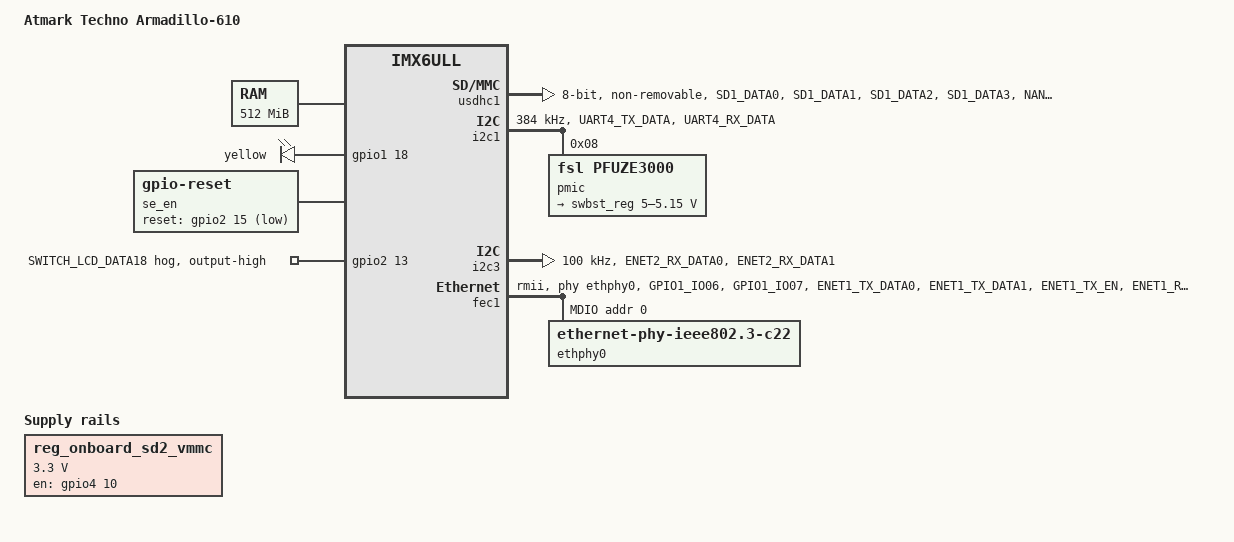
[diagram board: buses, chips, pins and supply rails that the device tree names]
// SPDX-License-Identifier: (GPL-2.0 OR MIT)
/*
 * Copyright (C) 2020 Atmark Techno, Inc. All Rights Reserved.
 */

/dts-v1/;

#include "imx6ull.dtsi"

/ {
	model = "Atmark Techno Armadillo-610";
	compatible = "atmark,a610", "fsl,imx6ull";

	memory@80000000 {
		device_type = "memory";
		reg = <0x80000000 0x20000000>;
	};

	gpio-leds {
		compatible = "gpio-leds";
		pinctrl-names = "default";
		pinctrl-0 = <
			&pinctrl_gpio_leds
			&pinctrl_ext_gpio_leds /* for dtbo */
		>;

		yellow {
			label = "yellow";
			gpios = <&gpio1 18 GPIO_ACTIVE_HIGH>;
			linux,default-trigger = "none";
		};
	};

	reg_onboard_sd2_vmmc: regulator-onboardsd2vmmc {
		pinctrl-names = "default";
		pinctrl-0 = <&pinctrl_onboard_sd2_vmmc>;
		compatible = "regulator-fixed";
		regulator-name = "VDD_ONBOARD_SD2";
		regulator-min-microvolt = <3300000>;
		regulator-max-microvolt = <3300000>;
		gpio = <&gpio4 10 GPIO_ACTIVE_HIGH>;
		enable-active-high;
	};

	se_en: se-enable {
		compatible = "gpio-reset";
		pinctrl-names = "default";
		pinctrl-0 = <&pinctrl_se_reset_n>;
		reset-gpios = <&gpio2 15 GPIO_ACTIVE_LOW>;
		reset-assert-in-suspend;
	};
};

#include "armadillo-600-onboard-usdhc2.dtsi"

&usdhc1 {
	assigned-clocks = <&clks IMX6UL_CLK_USDHC1_SEL>, <&clks IMX6UL_CLK_USDHC1>;
	assigned-clock-parents = <&clks IMX6UL_CLK_PLL2_PFD2>;
	assigned-clock-rates = <0>, <198000000>;

	pinctrl-names = "default";
	pinctrl-0 = <&pinctrl_usdhc1>;
	bus-width = <8>;
	no-1-8-v;
	non-removable;
	keep-power-in-suspend;
	wakeup-source;
	status = "okay";
};

&iomuxc {
	pinctrl_ext_gpio_leds: extgpioledsgrp {
		/* this group left empty for expansion GPIO LEDs */
	};

	pinctrl_enet1: enet1grp {
		fsl,pins = <
			MX6UL_PAD_GPIO1_IO06__ENET1_MDIO	0x0b808
			MX6UL_PAD_GPIO1_IO07__ENET1_MDC		0x0b008
			MX6UL_PAD_ENET1_TX_DATA0__ENET1_TDATA00	0x0b010
			MX6UL_PAD_ENET1_TX_DATA1__ENET1_TDATA01	0x0b010
			MX6UL_PAD_ENET1_TX_EN__ENET1_TX_EN	0x1b0b0
			MX6UL_PAD_ENET1_RX_DATA0__ENET1_RDATA00	0x1b0b0
			MX6UL_PAD_ENET1_RX_DATA1__ENET1_RDATA01	0x1b0b0
			MX6UL_PAD_ENET1_RX_ER__ENET1_RX_ER	0x1b0b0
			MX6UL_PAD_ENET1_RX_EN__ENET1_RX_EN	0x1b0b0
			MX6UL_PAD_ENET1_TX_CLK__ENET1_REF_CLK1	0x4001b018
		>;
	};

	pinctrl_i2c1: i2c1grp {
		fsl,pins = <
			MX6UL_PAD_UART4_TX_DATA__I2C1_SCL	0x4001b8b0
			MX6UL_PAD_UART4_RX_DATA__I2C1_SDA	0x4001b8b0
		>;
	};

	pinctrl_i2c3: i2c3grp {
		fsl,pins = <
			MX6UL_PAD_ENET2_RX_DATA0__I2C3_SCL	0x4001b8b0
			MX6UL_PAD_ENET2_RX_DATA1__I2C3_SDA	0x4001b8b0
		>;
	};

	pinctrl_switch_lcd_data18: switchlcddata18grp {
		fsl,pins = <
			MX6UL_PAD_ENET2_TX_EN__GPIO2_IO13	0x400010b0
		>;
	};

	pinctrl_se_reset_n: seresetngrp {
		fsl,pins = <
			MX6UL_PAD_ENET2_RX_ER__GPIO2_IO15	0x400010b0
		>;
	};

	pinctrl_usdhc1: usdhc1grp {
		fsl,pins = <
			MX6UL_PAD_SD1_DATA0__USDHC1_DATA0	0x17059
			MX6UL_PAD_SD1_DATA1__USDHC1_DATA1	0x17059
			MX6UL_PAD_SD1_DATA2__USDHC1_DATA2	0x17059
			MX6UL_PAD_SD1_DATA3__USDHC1_DATA3	0x17059
			MX6UL_PAD_NAND_READY_B__USDHC1_DATA4	0x17059
			MX6UL_PAD_NAND_CE0_B__USDHC1_DATA5	0x17059
			MX6UL_PAD_NAND_CE1_B__USDHC1_DATA6	0x17059
			MX6UL_PAD_NAND_CLE__USDHC1_DATA7	0x17059
			MX6UL_PAD_SD1_CLK__USDHC1_CLK		0x17059
			MX6UL_PAD_SD1_CMD__USDHC1_CMD		0x17059
			MX6UL_PAD_GPIO1_IO09__USDHC1_RESET_B	0x17059
		>;
	};

	pinctrl_gpio_leds: gpioledsgrp {
		fsl,pins = <
			MX6UL_PAD_UART1_CTS_B__GPIO1_IO18  0x00008
		>;
	};

	pinctrl_wdog: wdoggrp {
		fsl,pins = <
			MX6UL_PAD_LCD_RESET__WDOG1_WDOG_ANY    0x30b0
		>;
	};

	pinctrl_onboard_sd2_vmmc: onboardsd2vmmcgrp {
		fsl,pins = <
			MX6UL_PAD_NAND_ALE__GPIO4_IO10  0x00008
		>;
	};
};

&iomuxc_snvs {
	pinctrl-names = "default";
	pinctrl-0 = <
			&pinctrl_expansion_interfacehog_snvs
		    >;

	pinctrl_expansion_interfacehog_snvs: expansioninterfacehogsnvsgrp {
		/* this group left empty for at-dtweb expansion GPIOs */
	};
};

&i2c1 {
	pinctrl-names = "default";
	pinctrl-0 = <&pinctrl_i2c1>;
	clock-frequency = <384000>;
	status = "okay";

	pmic: pfuze3000@8 {
		compatible = "fsl,pfuze3000";
		reg = <0x08>;

		regulators {
			swbst_reg: swbst {
				regulator-min-microvolt = <5000000>;
				regulator-max-microvolt = <5150000>;
				regulator-boot-on;
				regulator-always-on;
				regulator-ramp-delay = <6250>;
			};
		};
	};

	/* for SE050 secure element */
};

&i2c3 {
	pinctrl-names = "default";
	pinctrl-0 = <&pinctrl_i2c3>;
	clock-frequency = <100000>;
	status = "okay";

	/* for A71CH secure element (for old revision compatibility) */
};

&fec1 {
	pinctrl-names = "default";
	pinctrl-0 = <&pinctrl_enet1>;
	phy-mode = "rmii";
	phy-handle = <&ethphy0>;
	status = "okay";

	mdio {
		#address-cells = <1>;
		#size-cells = <0>;

		reset-gpios = <&gpio4 11 GPIO_ACTIVE_LOW>;
		reset-delay-us = <800>;
		reset-post-delay-us = <15000>;

		ethphy0: ethernet-phy@0 {
			compatible = "ethernet-phy-ieee802.3-c22";
			reg = <0>;
			clocks = <&clks IMX6UL_CLK_ENET_REF>;
			clock-names = "rmii-ref";
			smsc,disable-energy-detect;
		};
	};
};

&snvs_poweroff {
	status = "okay";
};

&wdog1 {
	pinctrl-names = "default";
	pinctrl-0 = <&pinctrl_wdog>;
	timeout-sec = <10>;
	fsl,ext-reset-output;
};

&gpio2 {
	switch_lcd_data18 {
		pinctrl-names = "default";
		pinctrl-0 = <&pinctrl_switch_lcd_data18>;

		gpio-hog;
		gpios = <13 GPIO_ACTIVE_HIGH>;
		line-name = "SWITCH_LCD_DATA18";
		output-high;
	};
};
